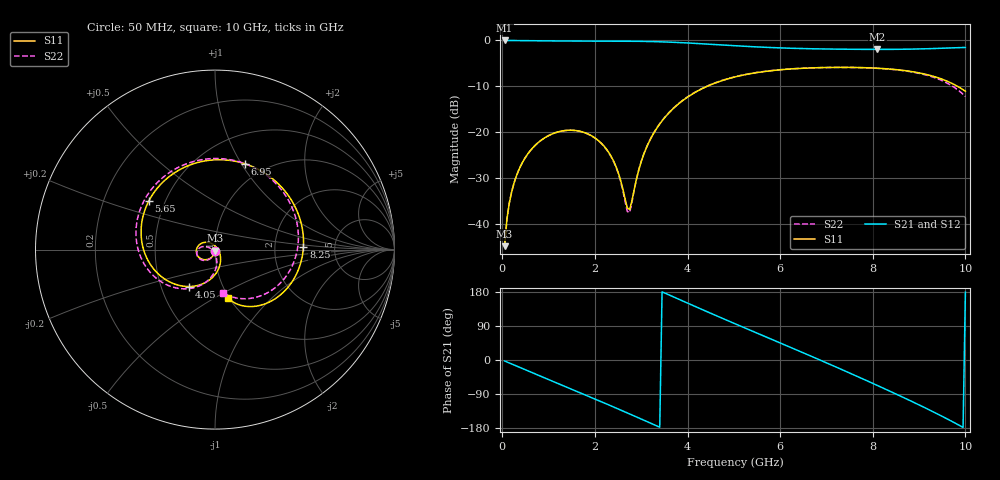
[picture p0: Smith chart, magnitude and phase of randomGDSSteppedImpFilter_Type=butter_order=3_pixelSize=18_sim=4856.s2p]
! freq	dB(S11)	phase(S11)	dB(S12)	phase(S12)
!  dB(S21)	phase(S21)	dB(S22)	phase(S22)
!S-par simulation data
#  GHz  S  DB  R 50
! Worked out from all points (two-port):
!   200 points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, 50 MHz to 10 GHz, reference 50 ohm
!   highest |S21| = 0.00 dB at 50 MHz (marker M1); lowest = -2.0 dB at 8.1 GHz (marker M2)
!   |S21| within 3 dB of the highest: start of sweep to end of sweep
!   lowest |S11| = -44.9 dB at 50 MHz (marker M3), VSWR 1.01, Z = 50 - j0.571 ohm
!   |S11| at or under -10 dB: start of sweep to 4.425 GHz; 9.829 GHz to end of sweep
!   |S22| runs from -44.9 to -5.9 dB; largest |S21 - S12| = 0
!   S11 on the Smith chart (normalised r, x): 50 MHz: 1.00, -0.01; 4.05 GHz: 0.70, -0.31; 5.65 GHz: 0.41, +0.28; 6.95 GHz: 0.80, +1.04; 8.25 GHz: 2.94, +0.10; 10 GHz: 0.99, -0.58
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0.05  -44.87 -91.0  -0.00 -2.6  -0.00 -2.6  -44.87 -90.8
0.1  -38.99 -94.1  -0.01 -5.2  -0.01 -5.2  -38.99 -93.6
0.2  -33.10 -100.3  -0.02 -10.4  -0.02 -10.4  -33.10 -99.4
0.55  -24.76 -120.3  -0.05 -28.4  -0.05 -28.4  -24.76 -117.7
1.2  -19.96 -155.9  -0.11 -61.8  -0.11 -61.8  -19.96 -149.6
1.75  -20.02 173.1  -0.14 -90.0  -0.14 -90.0  -20.03 -175.4
2.35  -25.28 133.2  -0.15 -121.2  -0.15 -121.2  -25.37 161.6
2.75  -36.88 24.2  -0.17 -142.3  -0.17 -142.3  -37.54 -127.5
3  -26.43 -51.2  -0.20 -155.8  -0.20 -155.8  -26.38 -80.4
3.4  -18.21 -84.4  -0.29 -177.4  -0.29 -177.4  -18.15 -91.3
4.05  -12.03 -124.7  -0.58 147.4  -0.58 147.4  -11.98 -121.3
4.55  -9.47 -153.9  -0.87 120.7  -0.87 120.7  -9.42 -145.5
5.05  -7.90 177.6  -1.17 94.4  -1.17 94.4  -7.85 -169.4
5.65  -6.79 143.8  -1.49 63.2  -1.49 63.2  -6.76 162.2
6.7  -5.98 84.8  -1.82 8.4  -1.82 8.4  -5.98 112.1
6.95  -5.91 70.8  -1.86 -4.8  -1.86 -4.8  -5.91 99.7
7.5  -5.88 40.7  -1.93 -34.3  -1.93 -34.3  -5.89 71.7
8.1  -6.06 9.2  -1.95 -67.2  -1.95 -67.2  -6.08 39.4
8.25  -6.15 1.5  -1.95 -75.6  -1.95 -75.6  -6.18 31.0
8.35  -6.22 -3.5  -1.95 -81.2  -1.95 -81.2  -6.25 25.3
9.15  -7.40 -41.8  -1.82 -127.4  -1.82 -127.4  -7.54 -22.3
10  -11.08 -74.9  -1.53 178.8  -1.53 178.8  -12.23 -79.7
